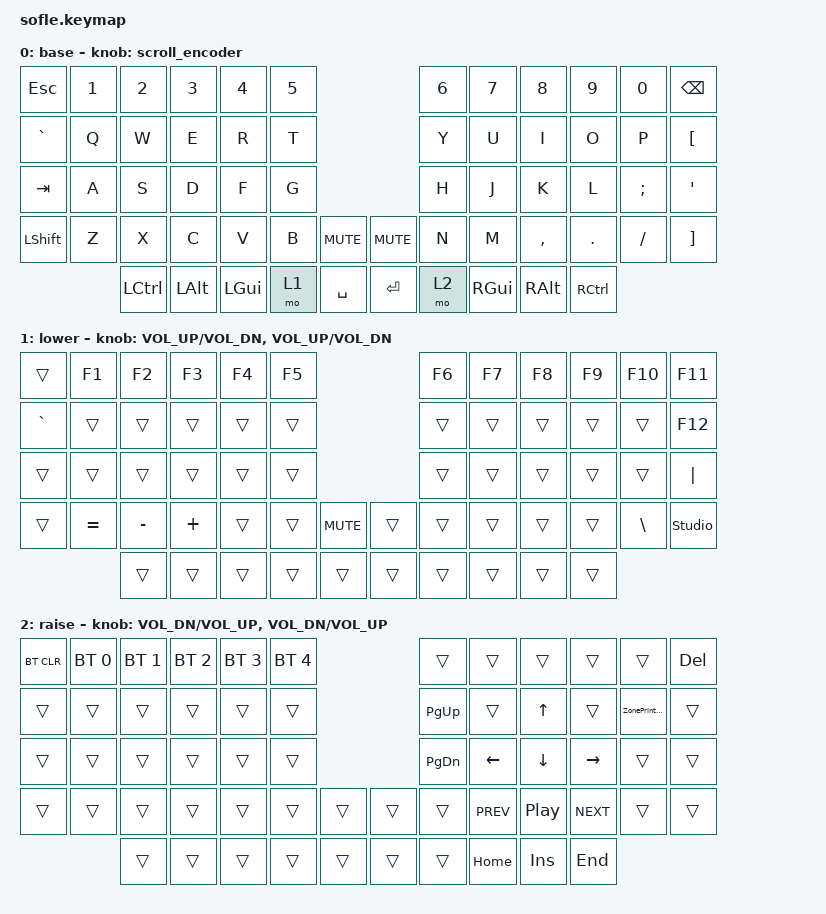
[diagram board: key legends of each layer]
/*
 * Copyright (c) 2020 The ZMK Contributors
 *
 * SPDX-License-Identifier: MIT
 */

#include <behaviors.dtsi>
#include <input/processors.dtsi>
#include <dt-bindings/zmk/bt.h>
#include <dt-bindings/zmk/keys.h>
#include <dt-bindings/zmk/ext_power.h>
#include <dt-bindings/zmk/pointing.h>

// #include <dt-bindings/zmk/rgb.h>

#define BASE 0
#define LOWER 1
#define RAISE 2
#define ADJUST 3

&msc_input_listener { input-processors = <&zip_scroll_scaler 2 1>; };
&msc {
    acceleration-exponent = <1>;      // 0
    time-to-max-speed-ms = <300>;       // 300
    delay-ms = <0>;                   // 0
};

/ {
    // Activate ADJUST layer by pressing raise and lower

    conditional_layers {
        compatible = "zmk,conditional-layers";

        adjust_layer {
            if-layers = <1 2>;
            then-layer = <3>;
        };
    };

    behaviors {
        scroll_encoder: scroll_encoder {
            compatible = "zmk,behavior-sensor-rotate";
            #sensor-binding-cells = <0>;
            bindings = <&msc SCRL_UP>, <&msc SCRL_DOWN>;
            tap-ms = <100>;
        };
    };

    macros {
        ZonePrintScreen: ZonePrintScreen {
            compatible = "zmk,behavior-macro";
            #binding-cells = <0>;
            bindings = <&kp LS(LG(S))>;
            label = "ZONEPRINTSCREEN";
        };
    };

    keymap {
        compatible = "zmk,keymap";

        base_layer {
            display-name = "base";
            bindings = <
&kp ESCAPE  &kp N1  &kp N2    &kp N3    &kp N4     &kp N5                            &kp N6  &kp N7     &kp N8     &kp N9    &kp N0    &kp BACKSPACE
&kp GRAVE   &kp Q   &kp W     &kp E     &kp R      &kp T                             &kp Y   &kp U      &kp I      &kp O     &kp P     &kp LEFT_BRACKET
&kp TAB     &kp A   &kp S     &kp D     &kp F      &kp G                             &kp H   &kp J      &kp K      &kp L     &kp SEMI  &kp SQT
&kp LSHFT   &kp Z   &kp X     &kp C     &kp V      &kp B   &kp C_MUTE    &kp C_MUTE  &kp N   &kp M      &kp COMMA  &kp DOT   &kp FSLH  &kp RIGHT_BRACKET
                    &kp LCTRL &kp LALT  &kp LGUI   &mo 1   &kp SPACE     &kp ENTER   &mo 2   &kp RGUI   &kp RALT   &kp RCTRL
            >;

            sensor-bindings = <&scroll_encoder>;
        };

        lower_layer {
            display-name = "lower";
            bindings = <
&trans     &kp F1     &kp F2     &kp F3    &kp F4  &kp F5                    &kp F6  &kp F7  &kp F8  &kp F9  &kp F10   &kp F11
&kp GRAVE  &trans     &trans     &trans    &trans  &trans                    &trans  &trans  &trans  &trans  &trans    &kp F12
&trans     &trans     &trans     &trans    &trans  &trans                    &trans  &trans  &trans  &trans  &trans    &kp PIPE
&trans     &kp EQUAL  &kp MINUS  &kp PLUS  &trans  &trans  &kp C_MUTE    &trans  &trans  &trans  &trans  &trans  &kp BSLH  &studio_unlock
                      &trans     &trans    &trans  &trans  &trans        &trans  &trans  &trans  &trans  &trans
            >;

            sensor-bindings =
                <&inc_dec_kp C_VOL_UP C_VOL_DN>,
                <&inc_dec_kp C_VOL_UP C_VOL_DN>;
        };

        raise_layer {
            display-name = "raise";
            bindings = <
&bt BT_CLR  &bt BT_SEL 0  &bt BT_SEL 1  &bt BT_SEL 2  &bt BT_SEL 3  &bt BT_SEL 4                    &trans     &trans      &trans            &trans      &trans            &kp DELETE
&trans      &trans        &trans        &trans        &trans        &trans                          &kp PG_UP  &trans      &kp UP            &trans      &ZonePrintScreen  &trans
&trans      &trans        &trans        &trans        &trans        &trans                          &kp PG_DN  &kp LEFT    &kp DOWN          &kp RIGHT   &trans            &trans
&trans      &trans        &trans        &trans        &trans        &trans        &trans    &trans  &trans     &kp C_PREV  &kp C_PLAY_PAUSE  &kp C_NEXT  &trans            &trans
                          &trans        &trans        &trans        &trans        &trans    &trans  &trans     &kp HOME    &kp INSERT        &kp END
            >;

            sensor-bindings =
                <&inc_dec_kp C_VOL_DN C_VOL_UP>,
                <&inc_dec_kp C_VOL_DN C_VOL_UP>;
        };
    };
};
